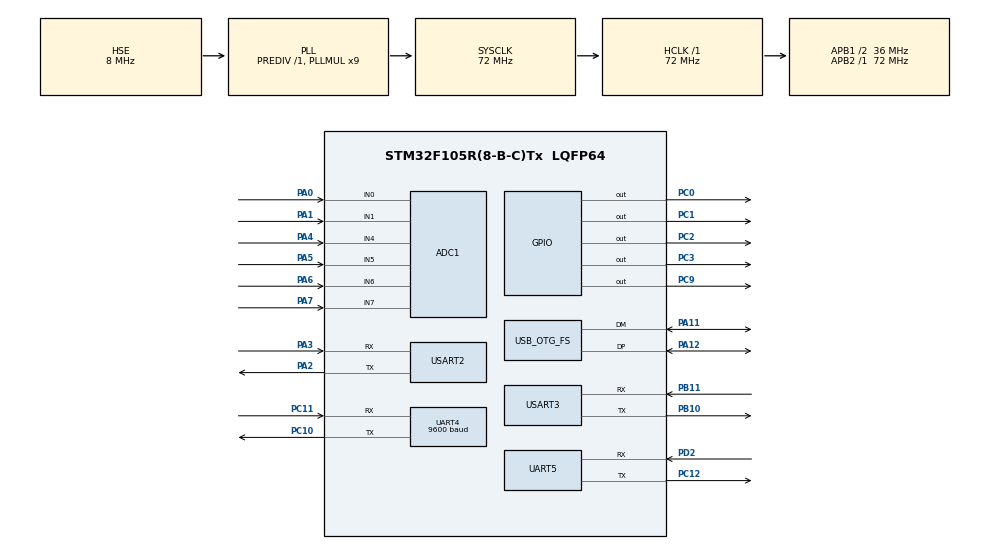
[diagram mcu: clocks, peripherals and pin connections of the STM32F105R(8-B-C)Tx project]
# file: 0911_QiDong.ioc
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ADC1.Channel-0\#ChannelRegularConversion=ADC_CHANNEL_0
ADC1.Channel-1\#ChannelRegularConversion=ADC_CHANNEL_1
ADC1.Channel-2\#ChannelRegularConversion=ADC_CHANNEL_4
ADC1.Channel-3\#ChannelRegularConversion=ADC_CHANNEL_5
ADC1.Channel-4\#ChannelRegularConversion=ADC_CHANNEL_6
ADC1.Channel-5\#ChannelRegularConversion=ADC_CHANNEL_7
ADC1.ContinuousConvMode=ENABLE
ADC1.NbrOfConversion=6
ADC1.NbrOfConversionFlag=1
ADC1.Rank-0\#ChannelRegularConversion=1
ADC1.Rank-1\#ChannelRegularConversion=2
ADC1.Rank-2\#ChannelRegularConversion=3
ADC1.Rank-3\#ChannelRegularConversion=4
ADC1.Rank-4\#ChannelRegularConversion=5
ADC1.Rank-5\#ChannelRegularConversion=6
ADC1.SamplingTime-0\#ChannelRegularConversion=ADC_SAMPLETIME_1CYCLE_5
ADC1.SamplingTime-1\#ChannelRegularConversion=ADC_SAMPLETIME_1CYCLE_5
ADC1.SamplingTime-2\#ChannelRegularConversion=ADC_SAMPLETIME_1CYCLE_5
ADC1.SamplingTime-3\#ChannelRegularConversion=ADC_SAMPLETIME_1CYCLE_5
ADC1.SamplingTime-4\#ChannelRegularConversion=ADC_SAMPLETIME_1CYCLE_5
ADC1.SamplingTime-5\#ChannelRegularConversion=ADC_SAMPLETIME_1CYCLE_5
ADC1.master=1
Dma.ADC1.0.Direction=DMA_PERIPH_TO_MEMORY
Dma.ADC1.0.Instance=DMA1_Channel1
Dma.ADC1.0.MemDataAlignment=DMA_MDATAALIGN_HALFWORD
Dma.ADC1.0.MemInc=DMA_MINC_ENABLE
Dma.ADC1.0.Mode=DMA_CIRCULAR
Dma.ADC1.0.PeriphDataAlignment=DMA_PDATAALIGN_WORD
Dma.ADC1.0.PeriphInc=DMA_PINC_DISABLE
Dma.ADC1.0.Priority=DMA_PRIORITY_LOW
Dma.Request0=ADC1
FATFS._USE_LFN=2
Mcu.Family=STM32F1
Mcu.Name=STM32F105R(8-B-C)Tx
Mcu.Package=LQFP64
NVIC.DMA1_Channel1_IRQn=true\:0\:0\:true\:false\:true\:false\:true
NVIC.OTG_FS_IRQn=true\:5\:0\:true\:false\:true\:false\:true
NVIC.PriorityGroup=NVIC_PRIORITYGROUP_4
NVIC.UART4_IRQn=true\:1\:0\:true\:false\:true\:true\:true
NVIC.UART5_IRQn=true\:3\:0\:true\:false\:true\:true\:true
NVIC.USART3_IRQn=true\:2\:0\:true\:false\:true\:true\:true
PA0-WKUP.Signal=ADCx_IN0
PA1.Signal=ADCx_IN1
PA11.Mode=Host_Only
PA11.Signal=USB_OTG_FS_DM
PA12.Mode=Host_Only
PA12.Signal=USB_OTG_FS_DP
PA2.Mode=Asynchronous
PA2.Signal=USART2_TX
PA3.Mode=Asynchronous
PA3.Signal=USART2_RX
PA4.Signal=ADCx_IN4
PA5.Signal=ADCx_IN5
PA6.Signal=ADCx_IN6
PA7.Signal=ADCx_IN7
PB10.Mode=Asynchronous
PB10.Signal=USART3_TX
PB11.Mode=Asynchronous
PB11.Signal=USART3_RX
PC0.Signal=GPIO_Output
PC1.Signal=GPIO_Output
PC10.Mode=Asynchronous
PC10.Signal=UART4_TX
PC11.Mode=Asynchronous
PC11.Signal=UART4_RX
PC12.Mode=Asynchronous
PC12.Signal=UART5_TX
PC2.Signal=GPIO_Output
PC3.Signal=GPIO_Output
PC9.Signal=GPIO_Output
PD0-OSC_IN.Mode=HSE-External-Oscillator
PD0-OSC_IN.Signal=RCC_OSC_IN
PD1-OSC_OUT.Mode=HSE-External-Oscillator
PD1-OSC_OUT.Signal=RCC_OSC_OUT
PD2.Mode=Asynchronous
PD2.Signal=UART5_RX
ProjectManager.HeapSize=0x2000
ProjectManager.StackSize=0x2000
ProjectManager.TargetToolchain=MDK-ARM V5
RCC.ADCPresc=RCC_ADCPCLK2_DIV6
RCC.AHBFreq_Value=72000000
RCC.APB1CLKDivider=RCC_HCLK_DIV2
RCC.APB1Freq_Value=36000000
RCC.APB1TimFreq_Value=72000000
RCC.APB2Freq_Value=72000000
RCC.APB2TimFreq_Value=72000000
RCC.HCLKFreq_Value=72000000
RCC.PLLMUL=RCC_PLL_MUL9
RCC.SYSCLKFreq_VALUE=72000000
RCC.SYSCLKSource=RCC_SYSCLKSOURCE_PLLCLK
RCC.USBFreq_Value=48000000
SH.ADCx_IN0.0=ADC1_IN0,IN0
SH.ADCx_IN1.0=ADC1_IN1,IN1
SH.ADCx_IN4.0=ADC1_IN4,IN4
SH.ADCx_IN5.0=ADC1_IN5,IN5
SH.ADCx_IN6.0=ADC1_IN6,IN6
SH.ADCx_IN7.0=ADC1_IN7,IN7
UART4.BaudRate=9600
UART4.VirtualMode=Asynchronous
UART5.VirtualMode=Asynchronous
USART2.VirtualMode=VM_ASYNC
USART3.VirtualMode=VM_ASYNC
USB_HOST.USBH_DEBUG_LEVEL=2
USB_HOST.USBH_HandleTypeDef=hUsbHostFS
USB_HOST.VirtualModeFS=Msc
USB_OTG_FS.VirtualMode=Host_Only
VP_FATFS_VS_USB.Mode=USB
VP_SYS_VS_ND.Mode=No_Debug
VP_USB_HOST_VS_USB_HOST_MSC_FS.Mode=MSC_FS
board=custom

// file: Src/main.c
/* USER CODE BEGIN Header */
/**
  ******************************************************************************
  * @file           : main.c
  * @brief          : Main program body
  ******************************************************************************
  * @attention
  *
  * <h2><center>&copy; Copyright (c) 2020 STMicroelectronics.
  * All rights reserved.</center></h2>
  *
  * This software component is licensed by ST under Ultimate Liberty license
  * SLA0044, the "License"; You may not use this file except in compliance with
  * the License. You may obtain a copy of the License at:
  *                             www.st.com/SLA0044
  *
  ******************************************************************************
  */
/* USER CODE END Header */

#include "main.h"
#include "adc.h"
#include "dma.h"
#include "fatfs.h"
#include "usart.h"
#include "usb_host.h"
#include "gpio.h"

/* USER CODE BEGIN Includes */
#include "Function_interface.h"
/* USER CODE END Includes */

/* USER CODE BEGIN PTD */
	uint16_t ADC_DMA[6];										//ADC采集缓存数组
	uint16_t ADC_V_data[6];								//ADC采集转换电压数组
	uint8_t tim_num = 0;
	extern ApplicationTypeDef Appli_state;
	extern USBH_HandleTypeDef hUsbHostFS;
	extern char USBH_Path[4];

/* USER CODE END PTD */

void SystemClock_Config(void);
void MX_USB_HOST_Process(void);

int main(void)
{

  /* MCU Configuration--------------------------------------------------------*/

  /* Reset of all peripherals, Initializes the Flash interface and the Systick. */
  HAL_Init();

  /* Configure the system clock */
  SystemClock_Config();

  /* USER CODE BEGIN SysInit */
	ADC_sum_num = 0;
  /* USER CODE END SysInit */

  /* Initialize all configured peripherals */
  MX_GPIO_Init();
  MX_DMA_Init();
  MX_ADC1_Init();
  MX_UART4_Init();
  MX_UART5_Init();
  MX_USART2_UART_Init();
  MX_USART3_UART_Init();
  MX_FATFS_Init();
  MX_USB_HOST_Init();
  /* USER CODE BEGIN 2 */

	//*****************ADC**********************
	HAL_ADCEx_Calibration_Start(&hadc1);    //AD校准
	HAL_NVIC_DisableIRQ(DMA1_Channel1_IRQn);//防止dma持续进入中断
	HAL_ADC_Start_DMA(&hadc1,(uint32_t *)ADC_DMA,6);
	Send_Data_Iint();                  //发送数据初始化
	LCD_Shouye = 1;
  /* USER CODE END 2 */

  /* Infinite loop */
  while (1)
  {
   // MX_USB_HOST_Process();

    /* USER CODE BEGIN 3 */
		HAL_UART_Receive_IT(&huart3, (uint8_t *)USART3_BUFF,11);
		HAL_UART_Receive_IT(&huart4,&res,1);
		Touch_check();		//触摸检测
		ADC_VTrans();			//实际电压转换
		ADC_Ave();				//求平均电压值
		Get_Real_Time_data();//获得需要显示的示数
		LCD_ShouYe();			//首页模块
//		if (tim_num == 100)
//		{
			HAL_ADC_Start_DMA(&hadc1,(uint32_t *)ADC_DMA,6);
			LCD_CeLiang();		//测量模块
//			tim_num = 0;
//		}
		JiaoZhun();				//校准模块
		GongCha();				//公差模块
		DaoChu();					//导出模块
		if(LCD_USB == 1)
		{
			MX_USB_HOST_Process();
			switch(Appli_state)
			{
				case APPLICATION_READY:
					printf("准备写入");
					MSC_Application();
					Appli_state = APPLICATION_DISCONNECT;
				break;

				case APPLICATION_DISCONNECT:
					f_mount(NULL,(TCHAR const*)"",0);
				break;

				default:
					break;
			}
		}
		tim_num++;
	}
//		memset(usart3_buffer,0x00,sizeof (usart3_buffer));
  /* USER CODE END 3 */
}

void SystemClock_Config(void)
{
  RCC_OscInitTypeDef RCC_OscInitStruct = {0};
  RCC_ClkInitTypeDef RCC_ClkInitStruct = {0};
  RCC_PeriphCLKInitTypeDef PeriphClkInit = {0};

  /** Initializes the CPU, AHB and APB busses clocks
  */
  RCC_OscInitStruct.OscillatorType = RCC_OSCILLATORTYPE_HSE;
  RCC_OscInitStruct.HSEState = RCC_HSE_ON;
  RCC_OscInitStruct.HSEPredivValue = RCC_HSE_PREDIV_DIV1;
  RCC_OscInitStruct.HSIState = RCC_HSI_ON;
  RCC_OscInitStruct.Prediv1Source = RCC_PREDIV1_SOURCE_HSE;
  RCC_OscInitStruct.PLL.PLLState = RCC_PLL_ON;
  RCC_OscInitStruct.PLL.PLLSource = RCC_PLLSOURCE_HSE;
  RCC_OscInitStruct.PLL.PLLMUL = RCC_PLL_MUL9;
  RCC_OscInitStruct.PLL2.PLL2State = RCC_PLL_NONE;
  if (HAL_RCC_OscConfig(&RCC_OscInitStruct) != HAL_OK)
  {
    Error_Handler();
  }
  /** Initializes the CPU, AHB and APB busses clocks
  */
  RCC_ClkInitStruct.ClockType = RCC_CLOCKTYPE_HCLK|RCC_CLOCKTYPE_SYSCLK
                              |RCC_CLOCKTYPE_PCLK1|RCC_CLOCKTYPE_PCLK2;
  RCC_ClkInitStruct.SYSCLKSource = RCC_SYSCLKSOURCE_PLLCLK;
  RCC_ClkInitStruct.AHBCLKDivider = RCC_SYSCLK_DIV1;
  RCC_ClkInitStruct.APB1CLKDivider = RCC_HCLK_DIV2;
  RCC_ClkInitStruct.APB2CLKDivider = RCC_HCLK_DIV1;

  if (HAL_RCC_ClockConfig(&RCC_ClkInitStruct, FLASH_LATENCY_2) != HAL_OK)
  {
    Error_Handler();
  }
  PeriphClkInit.PeriphClockSelection = RCC_PERIPHCLK_ADC|RCC_PERIPHCLK_USB;
  PeriphClkInit.AdcClockSelection = RCC_ADCPCLK2_DIV6;
  PeriphClkInit.UsbClockSelection = RCC_USBCLKSOURCE_PLL_DIV3;
  if (HAL_RCCEx_PeriphCLKConfig(&PeriphClkInit) != HAL_OK)
  {
    Error_Handler();
  }
  /** Configure the Systick interrupt time
  */
  __HAL_RCC_PLLI2S_ENABLE();
}

void Error_Handler(void)
{
}

/************************ (C) COPYRIGHT STMicroelectronics *****END OF FILE****/
